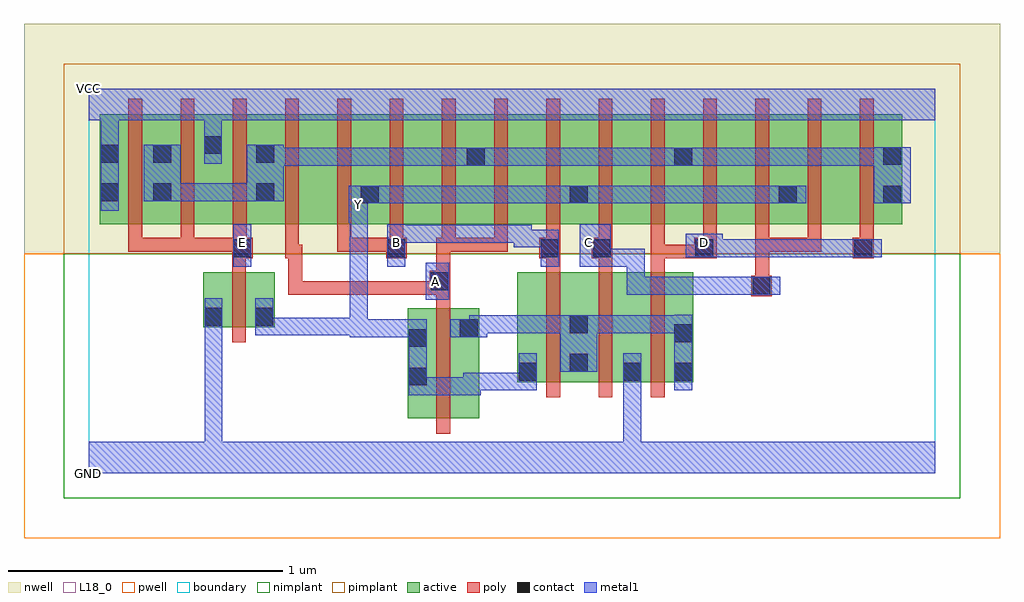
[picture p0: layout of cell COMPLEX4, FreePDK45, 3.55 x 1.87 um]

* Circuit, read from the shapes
.subckt COMPLEX4 A B C D E GND VCC Y
M1 Y E GND VSUBS nfet w=0.2u l=0.05u
M2 n1 A Y VSUBS nfet w=0.4u l=0.05u
M3 n1 B Y VSUBS nfet w=0.4u l=0.05u
M4 GND C n1 VSUBS nfet w=0.4u l=0.05u
M5 n1 D GND VSUBS nfet w=0.4u l=0.05u
M6 n2 E VCC n3 pfet w=0.4u l=0.05u m=3
M7 n4 A n2 n3 pfet w=0.4u l=0.05u
M8 Y B n4 n3 pfet w=0.4u l=0.05u
M9 n5 B Y n3 pfet w=0.4u l=0.05u
M10 n2 A n5 n3 pfet w=0.4u l=0.05u
M11 n6 A n2 n3 pfet w=0.4u l=0.05u
M12 Y B n6 n3 pfet w=0.4u l=0.05u
M13 n7 C Y n3 pfet w=0.4u l=0.05u
M14 n2 D n7 n3 pfet w=0.4u l=0.05u
M15 n8 D n2 n3 pfet w=0.4u l=0.05u
M16 Y C n8 n3 pfet w=0.4u l=0.05u
M17 n9 C Y n3 pfet w=0.4u l=0.05u
M18 n2 D n9 n3 pfet w=0.4u l=0.05u
.ends

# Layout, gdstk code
import gdstk
lib = gdstk.Library(unit=1e-6, precision=1e-09)
def R(c, l, rs):  # rectangles x0, y0, x1, y1
    for r in rs: c.add(gdstk.rectangle(r[:2], r[2:], *l))
def A(c, l, x, y, w, h, nx, ny, dx, dy):  # array of equal rectangles
    R(c, l, [(x+i*dx, y+j*dy, x+i*dx+w, y+j*dy+h) for i in range(nx) for j in range(ny)])
active = (1, 0)
pwell = (2, 0)
nwell = (3, 0)
nimplant = (4, 0)
pimplant = (5, 0)
poly = (9, 0)
contact = (10, 0)
metal1 = (11, 0)
L18_0 = (18, 0)
boundary = (235, 0)

complex4 = lib.new_cell('COMPLEX4')
A(complex4, active, 0.985, 0.907, 0.075, 0.163, 3, 1, 0.76, 0)
A(complex4, active, 1.595, 0.907, 0.225, 0.4, 4, 1, 0.38, 0)
A(complex4, active, 1.745, 0.907, 0.23, 0.4, 3, 1, 0.38, 0)
R(complex4, active, [(1.16,0.2,1.42,0.6), (1.16,0.285,1.235,0.6), (1.345,0.33,1.42,0.6), (1.56,0.332,1.635,0.597), (1.56,0.332,1.82,0.732), (1.745,0.332,2.015,0.732), (1.745,0.332,1.82,0.732), (1.94,0.332,2.015,0.597), (1.94,0.332,2.2,0.732), (2.125,0.332,2.2,0.597), (0.417,0.532,0.492,0.732), (0.417,0.532,0.677,0.732), (0.602,0.532,0.677,0.732), (0.04,0.907,0.305,1.307), (0.04,0.907,0.115,1.255), (0.23,0.907,0.49,1.307), (0.23,0.907,0.305,1.2), (0.415,0.907,0.68,1.307), (0.415,0.907,0.49,1.255), (0.605,0.907,0.68,1.2), (0.605,0.907,0.835,1.307), (0.835,0.907,1.06,1.307), (0.985,0.907,1.215,1.307), (1.215,0.907,1.445,1.307), (1.37,0.907,1.445,1.2), (1.37,0.907,1.595,1.307), (2.125,0.907,2.2,1.2), (2.885,0.907,2.96,1.2)])
R(complex4, pwell, [(-0.235,-0.235,3.315,0.8)])
R(complex4, nwell, [(-0.235,0.8,3.315,1.635)])
R(complex4, nimplant, [(-0.09,-0.09,3.17,0.8)])
R(complex4, pimplant, [(-0.09,0.8,3.17,1.49)])
A(complex4, poly, 1.665, 0.277, 0.05, 0.51, 3, 1, 0.19, 0)
A(complex4, poly, 1.665, 0.737, 0.05, 0.095, 3, 1, 0.19, 0)
A(complex4, poly, 0.145, 0.807, 0.05, 0.095, 3, 1, 0.19, 0)
A(complex4, poly, 0.145, 0.807, 0.24, 0.05, 3, 1, 1.14, 0)
A(complex4, poly, 0.905, 0.807, 0.05, 0.095, 6, 1, 0.19, 0)
A(complex4, poly, 2.235, 0.807, 0.05, 0.095, 4, 1, 0.19, 0)
A(complex4, poly, 0.145, 0.852, 0.05, 0.51, 15, 1, 0.19, 0)
R(complex4, poly, [(1.265,0.145,1.315,0.655), (0.522,0.477,0.572,0.787), (1.265,0.605,1.315,0.7), (2.41,0.645,2.485,0.72), (0.727,0.65,0.777,0.7), (0.727,0.65,0.777,0.7), (0.727,0.65,0.777,0.7), (0.727,0.65,1,0.7), (0.727,0.65,0.777,0.832), (0.95,0.65,1,0.7), (0.95,0.65,1,0.7), (0.95,0.65,1,0.7), (0.95,0.65,1.132,0.7), (1.082,0.65,1.132,0.7), (1.082,0.65,1.29,0.7), (1.24,0.65,1.29,0.7), (1.24,0.65,1.29,0.7), (1.24,0.65,1.315,0.737), (2.425,0.67,2.475,0.857), (1.265,0.687,1.315,0.857), (0.522,0.737,0.572,0.832), (0.522,0.782,0.597,0.857), (0.522,0.782,0.572,0.832), (0.522,0.782,0.572,0.832), (0.715,0.782,0.765,0.902), (0.715,0.782,0.777,0.832), (1.082,0.782,1.157,0.857), (1.64,0.782,1.715,0.857), (1.665,0.782,1.715,0.832), (1.665,0.782,1.715,0.832), (1.83,0.782,1.905,0.857), (2.045,0.782,2.095,0.832), (2.045,0.782,2.095,0.832), (2.045,0.782,2.095,0.832), (2.045,0.782,2.252,0.832), (2.045,0.782,2.095,0.902), (2.202,0.782,2.252,0.832), (2.202,0.782,2.252,0.832), (2.202,0.782,2.285,0.857), (2.78,0.782,2.855,0.857), (0.145,0.807,0.195,0.857), (0.335,0.807,0.385,0.857), (0.335,0.807,0.385,0.857), (0.335,0.807,0.385,0.857), (0.335,0.807,0.572,0.857), (0.522,0.807,0.572,0.857), (0.522,0.807,0.572,0.857), (0.905,0.807,0.955,0.857), (0.905,0.807,1.132,0.857), (1.082,0.807,1.132,0.857), (1.082,0.807,1.132,0.857), (1.265,0.807,1.335,0.857), (1.475,0.807,1.525,0.857), (1.475,0.807,1.525,0.857), (1.475,0.807,1.525,0.857), (1.855,0.807,1.905,0.857), (1.855,0.807,1.905,0.857), (2.425,0.807,2.475,0.857), (2.615,0.807,2.665,0.857), (2.615,0.807,2.665,0.857), (2.615,0.807,2.665,0.857)])
A(complex4, contact, 0.99, 0.982, 0.065, 0.065, 3, 1, 0.76, 0)
R(complex4, contact, [(1.165,0.32,1.23,0.385), (1.565,0.337,1.63,0.402), (1.945,0.337,2.01,0.402), (2.13,0.337,2.195,0.402), (1.75,0.37,1.815,0.435), (1.165,0.46,1.23,0.525), (2.13,0.477,2.195,0.542), (1.35,0.495,1.415,0.56), (1.75,0.51,1.815,0.575), (0.422,0.537,0.487,0.602), (0.607,0.537,0.672,0.602), (2.415,0.65,2.48,0.715), (1.245,0.667,1.31,0.732), (0.527,0.787,0.592,0.852), (1.087,0.787,1.152,0.852), (1.645,0.787,1.71,0.852), (1.835,0.787,1.9,0.852), (2.207,0.787,2.272,0.852), (2.785,0.787,2.85,0.852), (2.89,0.982,2.955,1.047), (0.045,0.99,0.11,1.055), (0.235,0.99,0.3,1.055), (0.61,0.99,0.675,1.055), (1.375,1.12,1.44,1.185), (2.13,1.12,2.195,1.185), (2.89,1.122,2.955,1.187), (0.045,1.13,0.11,1.195), (0.235,1.13,0.3,1.195), (0.61,1.13,0.675,1.195), (0.42,1.162,0.485,1.227)])
R(complex4, metal1, [(0,0,3.08,0.115), (0.422,0.05,0.487,0.115), (0.422,0.05,0.487,0.115), (0.422,0.05,0.487,0.115), (0.422,0.05,0.487,0.115), (0.422,0.05,0.487,0.567), (1.945,0.05,2.01,0.115), (1.945,0.05,2.01,0.115), (1.945,0.05,2.01,0.367), (1.165,0.285,1.23,0.35), (1.165,0.285,1.23,0.35), (1.165,0.285,1.29,0.35), (1.165,0.285,1.23,0.56), (1.225,0.285,1.29,0.35), (1.225,0.285,1.427,0.35), (1.362,0.285,1.427,0.35), (1.362,0.285,1.427,0.35), (1.362,0.285,1.427,0.367), (1.362,0.302,1.63,0.367), (1.565,0.302,1.63,0.437), (1.945,0.302,2.01,0.437), (2.13,0.302,2.195,0.577), (1.715,0.37,1.85,0.575), (0.95,0.495,1.015,0.56), (0.95,0.495,1.015,0.56), (0.95,0.495,1.23,0.56), (0.95,0.495,1.015,0.567), (1.315,0.495,1.45,0.56), (1.385,0.495,1.45,0.56), (1.385,0.495,1.45,0.575), (0.422,0.502,0.487,0.567), (0.422,0.502,0.487,0.567), (0.422,0.502,0.487,0.637), (0.607,0.502,0.672,0.567), (0.607,0.502,0.672,0.567), (0.607,0.502,0.672,0.637), (0.607,0.502,0.875,0.567), (0.81,0.502,0.875,0.567), (0.81,0.502,0.875,0.567), (0.81,0.502,0.875,0.567), (0.81,0.502,1.015,0.567), (0.95,0.502,1.015,0.977), (1.385,0.51,1.642,0.575), (1.577,0.51,1.642,0.575), (1.577,0.51,1.642,0.575), (1.577,0.51,1.642,0.575), (1.577,0.51,1.78,0.575), (1.785,0.51,1.85,0.575), (1.785,0.51,1.85,0.575), (1.785,0.51,1.987,0.575), (1.922,0.51,1.987,0.575), (1.922,0.51,2.037,0.575), (1.972,0.51,2.037,0.575), (1.972,0.51,2.195,0.575), (1.227,0.632,1.31,0.767), (1.957,0.65,2.037,0.715), (1.957,0.65,2.022,0.817), (1.972,0.65,2.037,0.715), (1.972,0.65,2.23,0.715), (2.165,0.65,2.23,0.715), (2.165,0.65,2.23,0.715), (2.165,0.65,2.23,0.715), (2.165,0.65,2.402,0.715), (2.337,0.65,2.402,0.715), (2.337,0.65,2.445,0.715), (2.38,0.65,2.515,0.715), (0.527,0.752,0.592,0.907), (1.087,0.752,1.152,0.907), (1.645,0.752,1.71,0.887), (1.787,0.752,1.9,0.907), (1.835,0.752,2.022,0.817), (2.172,0.787,2.307,0.872), (2.242,0.787,2.367,0.852), (2.302,0.787,2.367,0.852), (2.302,0.787,2.54,0.852), (2.475,0.787,2.54,0.852), (2.475,0.787,2.54,0.852), (2.475,0.787,2.54,0.852), (2.475,0.787,2.677,0.852), (2.612,0.787,2.677,0.852), (2.612,0.787,2.677,0.852), (2.612,0.787,2.677,0.852), (2.612,0.787,2.815,0.852), (2.75,0.787,2.885,0.852), (1.547,0.822,1.71,0.887), (1.547,0.822,1.612,0.905), (1.087,0.84,1.242,0.905), (1.177,0.84,1.242,0.905), (1.177,0.84,1.29,0.905), (1.225,0.84,1.29,0.905), (1.225,0.84,1.427,0.905), (1.362,0.84,1.427,0.905), (1.362,0.84,1.427,0.905), (1.362,0.84,1.427,0.905), (1.362,0.84,1.612,0.905), (0.947,0.912,1.015,1.047), (0.045,0.955,0.11,1.23), (0.95,0.982,1.015,1.047), (0.95,0.982,1.015,1.047), (0.95,0.982,1.015,1.047), (0.95,0.982,1.09,1.047), (1.025,0.982,1.09,1.047), (1.025,0.982,1.09,1.047), (1.025,0.982,1.242,1.047), (1.177,0.982,1.242,1.047), (1.177,0.982,1.29,1.047), (1.225,0.982,1.29,1.047), (1.225,0.982,1.427,1.047), (1.362,0.982,1.427,1.047), (1.362,0.982,1.427,1.047), (1.362,0.982,1.427,1.047), (1.362,0.982,1.642,1.047), (1.577,0.982,1.642,1.047), (1.577,0.982,1.642,1.047), (1.577,0.982,1.642,1.047), (1.577,0.982,1.78,1.047), (1.715,0.982,1.85,1.047), (1.785,0.982,1.85,1.047), (1.785,0.982,1.85,1.047), (1.785,0.982,2.022,1.047), (1.957,0.982,2.022,1.047), (1.957,0.982,2.092,1.047), (2.027,0.982,2.092,1.047), (2.027,0.982,2.23,1.047), (2.165,0.982,2.23,1.047), (2.165,0.982,2.23,1.047), (2.165,0.982,2.23,1.047), (2.165,0.982,2.367,1.047), (2.302,0.982,2.367,1.047), (2.302,0.982,2.54,1.047), (2.475,0.982,2.54,1.047), (2.475,0.982,2.54,1.047), (2.475,0.982,2.61,1.047), (2.855,0.982,2.99,1.187), (0.2,0.99,0.335,1.195), (0.27,0.99,0.335,1.055), (0.27,0.99,0.335,1.055), (0.27,0.99,0.502,1.055), (0.437,0.99,0.502,1.055), (0.437,0.99,0.502,1.055), (0.437,0.99,0.502,1.055), (0.437,0.99,0.64,1.055), (0.575,0.99,0.71,1.195), (0.645,1.12,0.71,1.185), (0.645,1.12,0.71,1.185), (0.645,1.12,0.875,1.185), (0.81,1.12,0.875,1.185), (0.81,1.12,0.875,1.185), (0.81,1.12,0.875,1.185), (0.81,1.12,0.875,1.185), (0.81,1.12,0.875,1.185), (0.81,1.12,1.012,1.185), (0.947,1.12,1.012,1.185), (0.947,1.12,1.012,1.185), (0.947,1.12,1.012,1.185), (0.947,1.12,1.242,1.185), (1.177,1.12,1.242,1.185), (1.177,1.12,1.29,1.185), (1.225,1.12,1.29,1.185), (1.225,1.12,1.405,1.185), (1.34,1.12,1.475,1.185), (1.41,1.12,1.475,1.185), (1.41,1.12,1.475,1.185), (1.41,1.12,1.642,1.185), (1.577,1.12,1.642,1.185), (1.577,1.12,1.642,1.185), (1.577,1.12,1.642,1.185), (1.577,1.12,1.85,1.185), (1.785,1.12,1.85,1.185), (1.785,1.12,1.85,1.185), (1.785,1.12,1.85,1.185), (1.785,1.12,2.022,1.185), (1.957,1.12,2.022,1.185), (1.957,1.12,2.092,1.185), (2.027,1.12,2.092,1.185), (2.027,1.12,2.16,1.185), (2.095,1.12,2.23,1.185), (2.165,1.12,2.23,1.185), (2.165,1.12,2.23,1.185), (2.165,1.12,2.367,1.185), (2.302,1.12,2.367,1.185), (2.302,1.12,2.54,1.185), (2.475,1.12,2.54,1.185), (2.475,1.12,2.54,1.185), (2.475,1.12,2.54,1.185), (2.475,1.12,2.677,1.185), (2.612,1.12,2.677,1.185), (2.612,1.12,2.747,1.185), (2.682,1.12,2.747,1.185), (2.682,1.12,2.747,1.185), (2.682,1.12,2.747,1.185), (2.682,1.12,2.92,1.185), (2.855,1.12,2.92,1.185), (2.855,1.12,2.92,1.185), (0.42,1.127,0.485,1.262), (0.045,1.165,0.11,1.35), (0.42,1.197,0.485,1.35), (0,1.285,3.08,1.4)])
R(complex4, L18_0, [(0,0,3.08,0.115), (0.422,0.05,0.487,0.115), (0.422,0.05,0.487,0.115), (0.422,0.05,0.487,0.115), (0.422,0.05,0.487,0.115), (0.422,0.05,0.487,0.567), (1.945,0.05,2.01,0.115), (1.945,0.05,2.01,0.115), (1.945,0.05,2.01,0.367), (1.165,0.285,1.23,0.56), (1.165,0.285,1.23,0.35), (1.165,0.285,1.23,0.35), (1.165,0.285,1.29,0.35), (1.225,0.285,1.29,0.35), (1.225,0.285,1.427,0.35), (1.362,0.285,1.427,0.35), (1.362,0.285,1.427,0.35), (1.362,0.285,1.427,0.367), (1.362,0.302,1.63,0.367), (1.565,0.302,1.63,0.437), (1.945,0.302,2.01,0.437), (0.95,0.495,1.015,0.56), (0.95,0.495,1.015,0.56), (0.95,0.495,1.015,0.567), (0.95,0.495,1.23,0.56), (0.422,0.502,0.487,0.567), (0.422,0.502,0.487,0.567), (0.422,0.502,0.487,0.637), (0.607,0.502,0.672,0.567), (0.607,0.502,0.672,0.567), (0.607,0.502,0.672,0.637), (0.607,0.502,0.875,0.567), (0.81,0.502,0.875,0.567), (0.81,0.502,0.875,0.567), (0.81,0.502,0.875,0.567), (0.81,0.502,1.015,0.567), (0.95,0.502,1.015,0.977), (1.227,0.632,1.31,0.767), (1.957,0.65,2.022,0.817), (1.957,0.65,2.037,0.715), (1.972,0.65,2.037,0.715), (1.972,0.65,2.23,0.715), (2.165,0.65,2.23,0.715), (2.165,0.65,2.23,0.715), (2.165,0.65,2.23,0.715), (2.165,0.65,2.402,0.715), (2.337,0.65,2.402,0.715), (2.337,0.65,2.445,0.715), (2.38,0.65,2.515,0.715), (1.227,0.667,1.292,0.732), (0.527,0.752,0.592,0.907), (1.087,0.752,1.152,0.907), (1.645,0.752,1.71,0.887), (1.787,0.752,1.9,0.907), (1.835,0.752,2.022,0.817), (2.172,0.787,2.307,0.872), (2.242,0.787,2.367,0.852), (2.302,0.787,2.367,0.852), (2.302,0.787,2.54,0.852), (2.475,0.787,2.54,0.852), (2.475,0.787,2.54,0.852), (2.475,0.787,2.54,0.852), (2.475,0.787,2.677,0.852), (2.612,0.787,2.677,0.852), (2.612,0.787,2.677,0.852), (2.612,0.787,2.677,0.852), (2.612,0.787,2.815,0.852), (2.75,0.787,2.885,0.852), (0.527,0.807,0.592,0.872), (1.087,0.807,1.152,0.872), (1.787,0.807,1.852,0.872), (2.207,0.807,2.272,0.872), (1.547,0.822,1.612,0.905), (1.547,0.822,1.71,0.887), (1.087,0.84,1.242,0.905), (1.177,0.84,1.242,0.905), (1.177,0.84,1.29,0.905), (1.225,0.84,1.29,0.905), (1.225,0.84,1.427,0.905), (1.362,0.84,1.427,0.905), (1.362,0.84,1.427,0.905), (1.362,0.84,1.427,0.905), (1.362,0.84,1.612,0.905), (0.947,0.912,1.015,1.047), (0.947,0.947,1.012,1.012), (0.045,0.955,0.11,1.23), (0.95,0.982,1.015,1.047), (0.95,0.982,1.015,1.047), (0.95,0.982,1.015,1.047), (0.95,0.982,1.09,1.047), (1.025,0.982,1.09,1.047), (1.025,0.982,1.09,1.047), (1.025,0.982,1.242,1.047), (1.177,0.982,1.242,1.047), (1.177,0.982,1.29,1.047), (1.225,0.982,1.29,1.047), (1.225,0.982,1.427,1.047), (1.362,0.982,1.427,1.047), (1.362,0.982,1.427,1.047), (1.362,0.982,1.427,1.047), (1.362,0.982,1.642,1.047), (1.577,0.982,1.642,1.047), (1.577,0.982,1.642,1.047), (1.577,0.982,1.642,1.047), (1.577,0.982,1.78,1.047), (1.715,0.982,1.85,1.047), (1.785,0.982,1.85,1.047), (1.785,0.982,1.85,1.047), (1.785,0.982,2.022,1.047), (1.957,0.982,2.022,1.047), (1.957,0.982,2.092,1.047), (2.027,0.982,2.092,1.047), (2.027,0.982,2.23,1.047), (2.165,0.982,2.23,1.047), (2.165,0.982,2.23,1.047), (2.165,0.982,2.23,1.047), (2.165,0.982,2.367,1.047), (2.302,0.982,2.367,1.047), (2.302,0.982,2.54,1.047), (2.475,0.982,2.54,1.047), (2.475,0.982,2.54,1.047), (2.475,0.982,2.61,1.047), (0.42,1.127,0.485,1.262), (0.045,1.165,0.11,1.35), (0.42,1.197,0.485,1.35), (0,1.285,3.08,1.4)])
R(complex4, boundary, [(0,0,3.08,1.4)])
complex4.add(gdstk.Label('A', (1.26,0.7), layer=11, texttype=0))
complex4.add(gdstk.Label('B', (1.12,0.84), layer=11, texttype=0))
complex4.add(gdstk.Label('C', (1.82,0.84), layer=11, texttype=0))
complex4.add(gdstk.Label('D', (2.24,0.84), layer=11, texttype=0))
complex4.add(gdstk.Label('E', (0.56,0.84), layer=11, texttype=0))
complex4.add(gdstk.Label('Y', (0.98,0.98), layer=11, texttype=0))
complex4.add(gdstk.Label('VCC', (0,1.4), layer=11, texttype=0))
complex4.add(gdstk.Label('GND', (0,0), layer=11, texttype=0))

lib.write_gds('COMPLEX4.gds')
